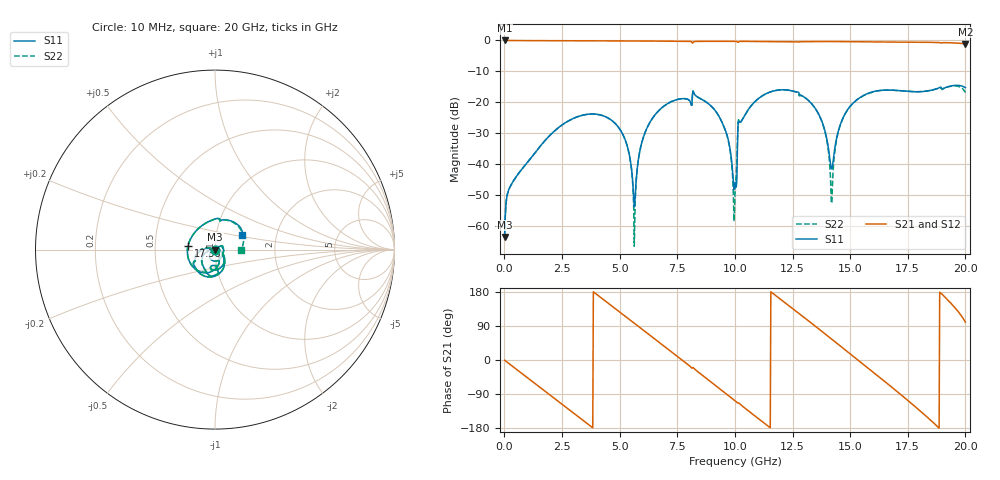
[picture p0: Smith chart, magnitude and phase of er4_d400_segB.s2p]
! Stitch-rule transferability - stripline, 2 mm stitch pitch, cut at x=20 mm
! Case: er4_d400_segB
! Sweep: 10 MHz - 20 GHz, 25 MHz step, 4 cores
# GHz S MA R 50.000000
! Terminal data exported
! Port[1] = U1.PAD1.SIG
! Port[2] = U2.PAD1.SIG
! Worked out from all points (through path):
!   801 points, 10 MHz to 20 GHz, reference 50 ohm
!   highest |S21| = -0.01 dB at 10 MHz (marker M1); lowest = -1.1 dB at 20 GHz (marker M2)
!   group delay of S21, straight-line fit = 132 ps
!   lowest |S11| = -63.6 dB at 10 MHz (marker M3), VSWR 1.00, Z = 50.1 + j0.0328 ohm
!   |S11| at or under -10 dB: start of sweep to end of sweep
!   |S22| runs from -66.6 to -14.7 dB; largest |S21 - S12| = 0
!   S11 on the Smith chart (normalised r, x): 10 MHz: 1.00, +0.00; 17.36 GHz: 0.74, +0.03; 20 GHz: 1.33, +0.23
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0.01  0.0006579 29.8  0.9994 -0.5  0.9994 -0.5  0.0006578 29.8
0.26  0.00436 40.7  0.9959 -12.3  0.9959 -12.3  0.004353 40.8
1.76  0.02389 4.1  0.9915 -82.3  0.9915 -82.3  0.02387 5.3
3.36  0.06117 -67.2  0.985 -156.9  0.985 -156.9  0.06116 -66.9
5.01  0.03646 -141.4  0.9817 126.3  0.9817 126.3  0.03641 -143.3
5.635  0.002016 -93.2  0.9807 97.1  0.9807 97.1  0.0004671 -131.5
5.985  0.02389 -14.3  0.9795 80.7  0.9795 80.7  0.0238 -10.2
6.685  0.0723 -43.5  0.9753 48.0  0.9753 48.0  0.07225 -42.4
7.785  0.1143 -93.2  0.9684 -3.4  0.9684 -3.4  0.1143 -93.4
8.96  0.08734 -145.3  0.9685 -57.7  0.9685 -57.7  0.08721 -147.5
9.61  0.03339 -167.2  0.969 -88.6  0.969 -88.6  0.03274 -174.5
10.01  0.005042 -60.9  0.9675 -107.7  0.9675 -107.7  0.004081 1.2
10.21  0.04702 -25.3  0.9631 -115.8  0.9631 -115.8  0.04755 -22.5
10.835  0.09913 -58.3  0.9628 -146.0  0.9628 -146.0  0.09895 -57.1
12.01  0.1587 -110.6  0.9524 158.9  0.9524 158.9  0.1585 -111.8
13.36  0.09178 -170.1  0.9575 95.4  0.9575 95.4  0.09141 -174.2
14.21  0.008364 -113.9  0.9595 54.5  0.9595 54.5  0.002416 -86.8
14.885  0.07518 -72.7  0.955 21.8  0.955 21.8  0.07465 -70.6
16.685  0.1571 -154.1  0.9405 -65.7  0.9405 -65.7  0.157 -157.9
17.36  0.1513 172.9  0.9388 -99.5  0.9388 -99.5  0.1514 168.3
18.81  0.1678 92.8  0.9257 -176.8  0.9257 -176.8  0.1677 91.9
20  0.1722 29.2  0.8768 99.9  0.8768 99.9  0.1438 -1.3
